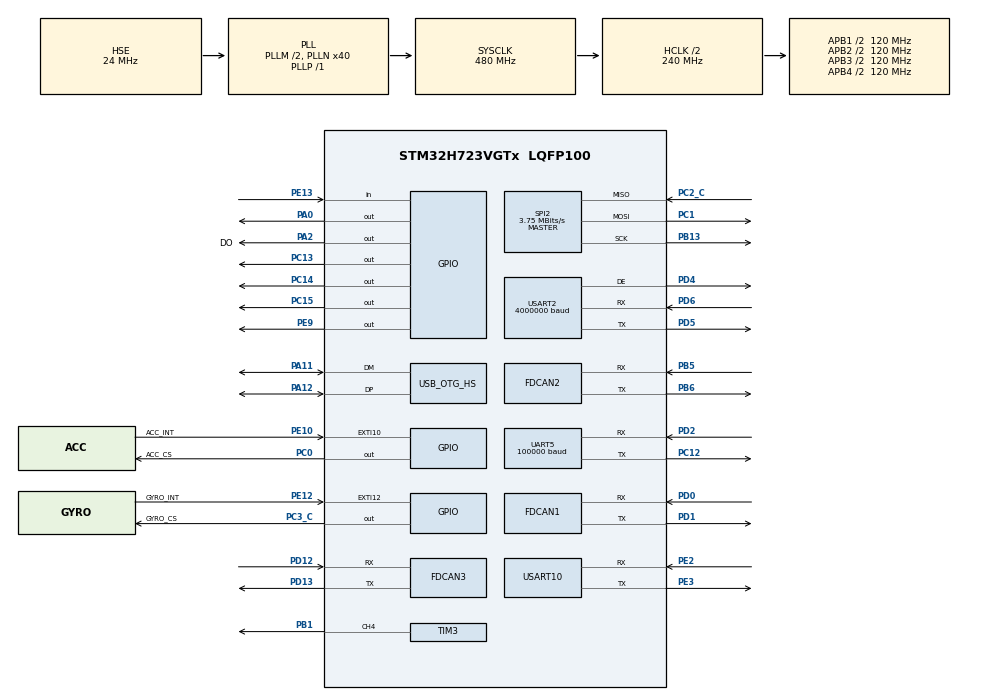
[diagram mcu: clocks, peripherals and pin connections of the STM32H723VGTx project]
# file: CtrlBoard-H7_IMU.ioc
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Dma.Request0=SPI2_RX
Dma.Request1=SPI2_TX
Dma.Request2=UART5_RX
Dma.Request3=USART2_RX
Dma.Request4=USART2_TX
Dma.Request5=USART10_RX
Dma.Request6=USART10_TX
Dma.SPI2_RX.0.Direction=DMA_PERIPH_TO_MEMORY
Dma.SPI2_RX.0.EventEnable=DISABLE
Dma.SPI2_RX.0.FIFOMode=DMA_FIFOMODE_DISABLE
Dma.SPI2_RX.0.Instance=DMA1_Stream0
Dma.SPI2_RX.0.MemDataAlignment=DMA_MDATAALIGN_BYTE
Dma.SPI2_RX.0.MemInc=DMA_MINC_ENABLE
Dma.SPI2_RX.0.Mode=DMA_NORMAL
Dma.SPI2_RX.0.PeriphDataAlignment=DMA_PDATAALIGN_BYTE
Dma.SPI2_RX.0.PeriphInc=DMA_PINC_DISABLE
Dma.SPI2_RX.0.Polarity=HAL_DMAMUX_REQ_GEN_RISING
Dma.SPI2_RX.0.Priority=DMA_PRIORITY_VERY_HIGH
Dma.SPI2_RX.0.RequestNumber=1
Dma.SPI2_RX.0.SignalID=NONE
Dma.SPI2_RX.0.SyncEnable=DISABLE
Dma.SPI2_RX.0.SyncPolarity=HAL_DMAMUX_SYNC_NO_EVENT
Dma.SPI2_RX.0.SyncRequestNumber=1
Dma.SPI2_RX.0.SyncSignalID=NONE
Dma.SPI2_TX.1.Direction=DMA_MEMORY_TO_PERIPH
Dma.SPI2_TX.1.EventEnable=DISABLE
Dma.SPI2_TX.1.FIFOMode=DMA_FIFOMODE_DISABLE
Dma.SPI2_TX.1.Instance=DMA1_Stream1
Dma.SPI2_TX.1.MemDataAlignment=DMA_MDATAALIGN_BYTE
Dma.SPI2_TX.1.MemInc=DMA_MINC_ENABLE
Dma.SPI2_TX.1.Mode=DMA_NORMAL
Dma.SPI2_TX.1.PeriphDataAlignment=DMA_PDATAALIGN_BYTE
Dma.SPI2_TX.1.PeriphInc=DMA_PINC_DISABLE
Dma.SPI2_TX.1.Polarity=HAL_DMAMUX_REQ_GEN_RISING
Dma.SPI2_TX.1.Priority=DMA_PRIORITY_HIGH
Dma.SPI2_TX.1.RequestNumber=1
Dma.SPI2_TX.1.SignalID=NONE
Dma.SPI2_TX.1.SyncEnable=DISABLE
Dma.SPI2_TX.1.SyncPolarity=HAL_DMAMUX_SYNC_NO_EVENT
Dma.SPI2_TX.1.SyncRequestNumber=1
Dma.SPI2_TX.1.SyncSignalID=NONE
Dma.UART5_RX.2.Direction=DMA_PERIPH_TO_MEMORY
Dma.UART5_RX.2.EventEnable=DISABLE
Dma.UART5_RX.2.FIFOMode=DMA_FIFOMODE_DISABLE
Dma.UART5_RX.2.Instance=DMA1_Stream2
Dma.UART5_RX.2.MemDataAlignment=DMA_MDATAALIGN_BYTE
Dma.UART5_RX.2.MemInc=DMA_MINC_ENABLE
Dma.UART5_RX.2.Mode=DMA_CIRCULAR
Dma.UART5_RX.2.PeriphDataAlignment=DMA_PDATAALIGN_BYTE
Dma.UART5_RX.2.PeriphInc=DMA_PINC_DISABLE
Dma.UART5_RX.2.Polarity=HAL_DMAMUX_REQ_GEN_RISING
Dma.UART5_RX.2.Priority=DMA_PRIORITY_VERY_HIGH
Dma.UART5_RX.2.RequestNumber=1
Dma.UART5_RX.2.SignalID=NONE
Dma.UART5_RX.2.SyncEnable=DISABLE
Dma.UART5_RX.2.SyncPolarity=HAL_DMAMUX_SYNC_NO_EVENT
Dma.UART5_RX.2.SyncRequestNumber=1
Dma.UART5_RX.2.SyncSignalID=NONE
Dma.USART10_RX.5.Direction=DMA_PERIPH_TO_MEMORY
Dma.USART10_RX.5.EventEnable=DISABLE
Dma.USART10_RX.5.FIFOMode=DMA_FIFOMODE_DISABLE
Dma.USART10_RX.5.Instance=DMA1_Stream5
Dma.USART10_RX.5.MemDataAlignment=DMA_MDATAALIGN_BYTE
Dma.USART10_RX.5.MemInc=DMA_MINC_ENABLE
Dma.USART10_RX.5.Mode=DMA_CIRCULAR
Dma.USART10_RX.5.PeriphDataAlignment=DMA_PDATAALIGN_BYTE
Dma.USART10_RX.5.PeriphInc=DMA_PINC_DISABLE
Dma.USART10_RX.5.Polarity=HAL_DMAMUX_REQ_GEN_RISING
Dma.USART10_RX.5.Priority=DMA_PRIORITY_HIGH
Dma.USART10_RX.5.RequestNumber=1
Dma.USART10_RX.5.SignalID=NONE
Dma.USART10_RX.5.SyncEnable=DISABLE
Dma.USART10_RX.5.SyncPolarity=HAL_DMAMUX_SYNC_NO_EVENT
Dma.USART10_RX.5.SyncRequestNumber=1
Dma.USART10_RX.5.SyncSignalID=NONE
Dma.USART10_TX.6.Direction=DMA_MEMORY_TO_PERIPH
Dma.USART10_TX.6.EventEnable=DISABLE
Dma.USART10_TX.6.FIFOMode=DMA_FIFOMODE_DISABLE
Dma.USART10_TX.6.Instance=DMA1_Stream6
Dma.USART10_TX.6.MemDataAlignment=DMA_MDATAALIGN_BYTE
Dma.USART10_TX.6.MemInc=DMA_MINC_ENABLE
Dma.USART10_TX.6.Mode=DMA_NORMAL
Dma.USART10_TX.6.PeriphDataAlignment=DMA_PDATAALIGN_BYTE
Dma.USART10_TX.6.PeriphInc=DMA_PINC_DISABLE
Dma.USART10_TX.6.Polarity=HAL_DMAMUX_REQ_GEN_RISING
Dma.USART10_TX.6.Priority=DMA_PRIORITY_HIGH
Dma.USART10_TX.6.RequestNumber=1
Dma.USART10_TX.6.SignalID=NONE
Dma.USART10_TX.6.SyncEnable=DISABLE
Dma.USART10_TX.6.SyncPolarity=HAL_DMAMUX_SYNC_NO_EVENT
Dma.USART10_TX.6.SyncRequestNumber=1
Dma.USART10_TX.6.SyncSignalID=NONE
Dma.USART2_RX.3.Direction=DMA_PERIPH_TO_MEMORY
Dma.USART2_RX.3.EventEnable=DISABLE
Dma.USART2_RX.3.FIFOMode=DMA_FIFOMODE_DISABLE
Dma.USART2_RX.3.Instance=DMA1_Stream3
Dma.USART2_RX.3.MemDataAlignment=DMA_MDATAALIGN_BYTE
Dma.USART2_RX.3.MemInc=DMA_MINC_ENABLE
Dma.USART2_RX.3.Mode=DMA_CIRCULAR
Dma.USART2_RX.3.PeriphDataAlignment=DMA_PDATAALIGN_BYTE
Dma.USART2_RX.3.PeriphInc=DMA_PINC_DISABLE
Dma.USART2_RX.3.Polarity=HAL_DMAMUX_REQ_GEN_RISING
Dma.USART2_RX.3.Priority=DMA_PRIORITY_HIGH
Dma.USART2_RX.3.RequestNumber=1
Dma.USART2_RX.3.SignalID=NONE
Dma.USART2_RX.3.SyncEnable=DISABLE
Dma.USART2_RX.3.SyncPolarity=HAL_DMAMUX_SYNC_NO_EVENT
Dma.USART2_RX.3.SyncRequestNumber=1
Dma.USART2_RX.3.SyncSignalID=NONE
Dma.USART2_TX.4.Direction=DMA_MEMORY_TO_PERIPH
Dma.USART2_TX.4.EventEnable=DISABLE
Dma.USART2_TX.4.FIFOMode=DMA_FIFOMODE_DISABLE
Dma.USART2_TX.4.Instance=DMA1_Stream4
Dma.USART2_TX.4.MemDataAlignment=DMA_MDATAALIGN_BYTE
Dma.USART2_TX.4.MemInc=DMA_MINC_ENABLE
Dma.USART2_TX.4.Mode=DMA_NORMAL
Dma.USART2_TX.4.PeriphDataAlignment=DMA_PDATAALIGN_BYTE
Dma.USART2_TX.4.PeriphInc=DMA_PINC_DISABLE
Dma.USART2_TX.4.Polarity=HAL_DMAMUX_REQ_GEN_RISING
Dma.USART2_TX.4.Priority=DMA_PRIORITY_HIGH
Dma.USART2_TX.4.RequestNumber=1
Dma.USART2_TX.4.SignalID=NONE
Dma.USART2_TX.4.SyncEnable=DISABLE
Dma.USART2_TX.4.SyncPolarity=HAL_DMAMUX_SYNC_NO_EVENT
Dma.USART2_TX.4.SyncRequestNumber=1
Dma.USART2_TX.4.SyncSignalID=NONE
FDCAN1.CalculateBaudRateNominal=1000000
FDCAN1.CalculateTimeBitNominal=1000
FDCAN1.CalculateTimeQuantumNominal=25.0
FDCAN1.DataPrescaler=3
FDCAN1.DataSyncJumpWidth=10
FDCAN1.DataTimeSeg1=29
FDCAN1.DataTimeSeg2=10
FDCAN1.ExtFiltersNbr=5
FDCAN1.MessageRAMOffset=5
FDCAN1.NominalPrescaler=3
FDCAN1.NominalSyncJumpWidth=10
FDCAN1.NominalTimeSeg1=29
FDCAN1.NominalTimeSeg2=10
FDCAN1.RxFifo0ElmtSize=FDCAN_DATA_BYTES_24
FDCAN1.RxFifo0ElmtsNbr=4
FDCAN1.RxFifo1ElmtSize=FDCAN_DATA_BYTES_24
FDCAN1.StdFiltersNbr=5
FDCAN1.TxElmtSize=FDCAN_DATA_BYTES_24
FDCAN1.TxFifoQueueElmtsNbr=8
FDCAN2.CalculateBaudRateNominal=1000000
FDCAN2.CalculateTimeBitNominal=1000
FDCAN2.CalculateTimeQuantumNominal=25.0
FDCAN2.DataPrescaler=3
FDCAN2.DataSyncJumpWidth=10
FDCAN2.DataTimeSeg1=29
FDCAN2.DataTimeSeg2=10
FDCAN2.ExtFiltersNbr=5
FDCAN2.MessageRAMOffset=854
FDCAN2.NominalPrescaler=3
FDCAN2.NominalSyncJumpWidth=10
FDCAN2.NominalTimeSeg1=29
FDCAN2.NominalTimeSeg2=10
FDCAN2.RxFifo1ElmtSize=FDCAN_DATA_BYTES_24
FDCAN2.RxFifo1ElmtsNbr=4
FDCAN2.StdFiltersNbr=5
FDCAN2.TxElmtSize=FDCAN_DATA_BYTES_24
FDCAN2.TxFifoQueueElmtsNbr=4
FDCAN3.CalculateBaudRateNominal=1000000
FDCAN3.CalculateTimeBitNominal=1000
FDCAN3.CalculateTimeQuantumNominal=25.0
FDCAN3.DataPrescaler=3
FDCAN3.DataSyncJumpWidth=10
FDCAN3.DataTimeSeg1=29
FDCAN3.DataTimeSeg2=5
FDCAN3.ExtFiltersNbr=5
FDCAN3.MessageRAMOffset=1709
FDCAN3.NominalPrescaler=3
FDCAN3.NominalSyncJumpWidth=10
FDCAN3.NominalTimeSeg1=29
FDCAN3.NominalTimeSeg2=10
FDCAN3.RxFifo0ElmtSize=FDCAN_DATA_BYTES_24
FDCAN3.RxFifo0ElmtsNbr=4
FDCAN3.StdFiltersNbr=5
FDCAN3.TxElmtSize=FDCAN_DATA_BYTES_24
FDCAN3.TxFifoQueueElmtsNbr=4
FREERTOS.INCLUDE_vTaskDelayUntil=1
FREERTOS.MEMORY_ALLOCATION=0
FREERTOS.Tasks01=defaultTask,0,128,StartDefaultTask,Default,NULL,Dynamic,NULL,NULL;INS_TASK,3,512,INS_Task,Default,NULL,Dynamic,NULL,NULL;CHASSIS_TASK,1,2048,CHASSIS_Task,Default,NULL,Dynamic,NULL,NULL;PS2_TASK,-3,512,PS2_Task,Default,NULL,Dynamic,NULL,NULL;REMOTO_TASK,2,256,Remote_Task,Default,NULL,Dynamic,NULL,NULL
FREERTOS.configENABLE_FPU=1
FREERTOS.configTOTAL_HEAP_SIZE=30720
Mcu.Family=STM32H7
Mcu.Name=STM32H723VGTx
Mcu.Package=LQFP100
NVIC.DMA1_Stream0_IRQn=true\:6\:0\:true\:false\:true\:true\:false\:true\:true
NVIC.DMA1_Stream1_IRQn=true\:6\:0\:true\:false\:true\:true\:false\:true\:true
NVIC.DMA1_Stream2_IRQn=true\:5\:0\:false\:false\:true\:true\:false\:true\:true
NVIC.DMA1_Stream3_IRQn=true\:5\:0\:false\:false\:true\:true\:false\:true\:true
NVIC.DMA1_Stream4_IRQn=true\:5\:0\:false\:false\:true\:true\:false\:true\:true
NVIC.DMA1_Stream5_IRQn=true\:5\:0\:false\:false\:true\:true\:false\:true\:true
NVIC.DMA1_Stream6_IRQn=true\:5\:0\:false\:false\:true\:true\:false\:true\:true
NVIC.FDCAN1_IT0_IRQn=true\:6\:0\:true\:false\:true\:true\:true\:true\:true
NVIC.FDCAN2_IT0_IRQn=true\:5\:0\:true\:false\:true\:true\:true\:true\:true
NVIC.FDCAN3_IT0_IRQn=true\:5\:0\:false\:false\:true\:true\:true\:true\:true
NVIC.OTG_HS_IRQn=true\:5\:0\:false\:false\:true\:true\:false\:true\:true
NVIC.PriorityGroup=NVIC_PRIORITYGROUP_4
NVIC.SPI2_IRQn=true\:5\:0\:true\:false\:true\:true\:false\:true\:true
NVIC.TIM2_IRQn=true\:15\:0\:false\:false\:true\:false\:false\:true\:true
NVIC.TimeBase=TIM2_IRQn
NVIC.TimeBaseIP=TIM2
NVIC.UART5_IRQn=true\:5\:0\:false\:false\:true\:true\:true\:true\:true
NVIC.USART10_IRQn=true\:5\:0\:false\:false\:true\:true\:true\:true\:true
NVIC.USART2_IRQn=true\:5\:0\:false\:false\:true\:true\:true\:true\:true
PA0.GPIO_ModeDefaultOutputPP=GPIO_MODE_OUTPUT_PP
PA0.GPIO_PuPd=GPIO_PULLUP
PA0.GPIO_Speed=GPIO_SPEED_FREQ_VERY_HIGH
PA0.Signal=GPIO_Output
PA11.Mode=Device_Only_FS
PA11.Signal=USB_OTG_HS_DM
PA12.Mode=Device_Only_FS
PA12.Signal=USB_OTG_HS_DP
PA13(JTMS/SWDIO).Mode=Serial_Wire
PA13(JTMS/SWDIO).Signal=DEBUG_JTMS-SWDIO
PA14(JTCK/SWCLK).Mode=Serial_Wire
PA14(JTCK/SWCLK).Signal=DEBUG_JTCK-SWCLK
PA2.GPIO_Label=DO
PA2.GPIO_PuPd=GPIO_PULLUP
PA2.GPIO_Speed=GPIO_SPEED_FREQ_VERY_HIGH
PA2.PinState=GPIO_PIN_SET
PA2.Signal=GPIO_Output
PB1.Signal=S_TIM3_CH4
PB13.GPIO_Speed=GPIO_SPEED_FREQ_VERY_HIGH
PB13.Mode=Full_Duplex_Master
PB13.Signal=SPI2_SCK
PB5.Mode=FDCAN_Activate
PB5.Signal=FDCAN2_RX
PB6.Mode=FDCAN_Activate
PB6.Signal=FDCAN2_TX
PC0.GPIO_Label=ACC_CS
PC0.GPIO_Speed=GPIO_SPEED_FREQ_VERY_HIGH
PC0.PinState=GPIO_PIN_SET
PC0.Signal=GPIO_Output
PC1.GPIO_Speed=GPIO_SPEED_FREQ_VERY_HIGH
PC1.Mode=Full_Duplex_Master
PC1.Signal=SPI2_MOSI
PC12.Mode=Asynchronous
PC12.Signal=UART5_TX
PC13.Signal=GPIO_Output
PC14-OSC32_IN.Signal=GPIO_Output
PC15-OSC32_OUT.PinState=GPIO_PIN_SET
PC15-OSC32_OUT.Signal=GPIO_Output
PC2_C.GPIO_Speed=GPIO_SPEED_FREQ_VERY_HIGH
PC2_C.Mode=Full_Duplex_Master
PC2_C.Signal=SPI2_MISO
PC3_C.GPIO_Label=GYRO_CS
PC3_C.GPIO_Speed=GPIO_SPEED_FREQ_VERY_HIGH
PC3_C.PinState=GPIO_PIN_SET
PC3_C.Signal=GPIO_Output
PD0.Mode=FDCAN_Activate
PD0.Signal=FDCAN1_RX
PD1.Mode=FDCAN_Activate
PD1.Signal=FDCAN1_TX
PD12.Mode=FDCAN_Activate
PD12.Signal=FDCAN3_RX
PD13.Mode=FDCAN_Activate
PD13.Signal=FDCAN3_TX
PD2.Mode=Asynchronous
PD2.Signal=UART5_RX
PD4.Mode=Hardware Flow Control (RS485)
PD4.Signal=USART2_DE
PD5.Mode=Asynchronous
PD5.Signal=USART2_TX
PD6.Mode=Asynchronous
PD6.Signal=USART2_RX
PE10.GPIO_Label=ACC_INT
PE10.Signal=GPXTI10
PE12.GPIO_Label=GYRO_INT
PE12.Signal=GPXTI12
PE13.GPIO_PuPd=GPIO_PULLUP
PE13.Signal=GPIO_Input
PE2.Mode=Asynchronous
PE2.Signal=USART10_RX
PE3.Mode=Asynchronous
PE3.Signal=USART10_TX
PE9.GPIO_ModeDefaultOutputPP=GPIO_MODE_OUTPUT_PP
PE9.GPIO_PuPd=GPIO_PULLUP
PE9.GPIO_Speed=GPIO_SPEED_FREQ_VERY_HIGH
PE9.Signal=GPIO_Output
PH0-OSC_IN.Mode=HSE-External-Oscillator
PH0-OSC_IN.Signal=RCC_OSC_IN
PH1-OSC_OUT.Mode=HSE-External-Oscillator
PH1-OSC_OUT.Signal=RCC_OSC_OUT
ProjectManager.HeapSize=0x200
ProjectManager.StackSize=0x800
ProjectManager.TargetToolchain=MDK-ARM V5.27
RCC.ADCFreq_Value=100000000
RCC.APB1Freq_Value=120000000
RCC.APB2Freq_Value=120000000
RCC.APB3Freq_Value=120000000
RCC.APB4Freq_Value=120000000
RCC.CortexFreq_Value=480000000
RCC.D1PPRE=RCC_APB3_DIV2
RCC.D2PPRE1=RCC_APB1_DIV2
RCC.D2PPRE2=RCC_APB2_DIV2
RCC.D3PPRE=RCC_APB4_DIV2
RCC.DIVM1=2
RCC.DIVM2=24
RCC.DIVN1=40
RCC.DIVN2=200
RCC.DIVP1=1
RCC.DIVQ1=4
RCC.DIVR1=4
RCC.HCLKFreq_Value=240000000
RCC.HPRE=RCC_HCLK_DIV2
RCC.HSE_VALUE=24000000
RCC.PLL2FRACN=0
RCC.PLL3FRACN=0
RCC.PLLFRACN=0
RCC.PLLSourceVirtual=RCC_PLLSOURCE_HSE
RCC.SYSCLKFreq_VALUE=480000000
RCC.SYSCLKSource=RCC_SYSCLKSOURCE_PLLCLK
RCC.USBCLockSelection=RCC_USBCLKSOURCE_HSI48
RCC.USBFreq_Value=48000000
SH.S_TIM3_CH4.0=TIM3_CH4,PWM Generation4 CH4
SPI2.BaudRatePrescaler=SPI_BAUDRATEPRESCALER_32
SPI2.CLKPhase=SPI_PHASE_2EDGE
SPI2.CLKPolarity=SPI_POLARITY_HIGH
SPI2.CalculateBaudRate=3.75 MBits/s
SPI2.DataSize=SPI_DATASIZE_8BIT
SPI2.Direction=SPI_DIRECTION_2LINES
SPI2.Mode=SPI_MODE_MASTER
SPI2.VirtualType=VM_MASTER
TIM3.AutoReloadPreload=TIM_AUTORELOAD_PRELOAD_ENABLE
TIM3.Channel-PWM\ Generation4\ CH4=TIM_CHANNEL_4
TIM3.Period=10000-1
TIM3.Prescaler=24-1
UART5.BaudRate=100000
UART5.Mode=MODE_RX
UART5.Parity=PARITY_EVEN
UART5.StopBits=UART_STOPBITS_2
UART5.WordLength=WORDLENGTH_9B
USART10.VirtualMode=VM_ASYNC
USART2.BaudRate=4000000
USART2.OverSampling=UART_OVERSAMPLING_16
USART2.UART_DEAssertionTime=0
USART2.UART_DEDeassertionTime=0
USART2.VirtualMode-Asynchronous=VM_ASYNC
USART2.VirtualMode-Hardware\ Flow\ Control\ (RS485)=VM_ASYNC
USB_DEVICE.CLASS_NAME_HS=CDC
USB_DEVICE.VirtualMode=Cdc
USB_DEVICE.VirtualModeHS=Cdc_HS
USB_OTG_HS.VirtualMode-Device_Only_FS=Device_Only_FS
VP_FREERTOS_VS_CMSIS_V1.Mode=CMSIS_V1
VP_SYS_VS_tim2.Mode=TIM2
VP_USB_DEVICE_VS_USB_DEVICE_CDC_HS.Mode=CDC_HS
board=custom

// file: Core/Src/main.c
/* USER CODE BEGIN Header */
/**
  ******************************************************************************
  * @file           : main.c
  * @brief          : Main program body
  ******************************************************************************
  * @attention
  *
  * Copyright (c) 2024 STMicroelectronics.
  * All rights reserved.
  *
  * This software is licensed under terms that can be found in the LICENSE file
  * in the root directory of this software component.
  * If no LICENSE file comes with this software, it is provided AS-IS.
  *
  ******************************************************************************
  */
/* USER CODE END Header */
#include "main.h"
#include "cmsis_os.h"
#include "dma.h"
#include "fdcan.h"
#include "spi.h"
#include "tim.h"
#include "usart.h"
#include "usb_device.h"
#include "gpio.h"

/* USER CODE BEGIN Includes */
#include "BMI088driver.h"
#include "kalman_filter.h"
#include "mahony_filter.h"
#include "bsp_dwt.h"
#include "BMI088Middleware.h"
#include "bsp_can.h"
#include "bsp_uart.h"
#include "user_sys_config.h"
/* USER CODE END Includes */

void SystemClock_Config(void);
void MX_FREERTOS_Init(void);

int main(void)
{

  /* MCU Configuration--------------------------------------------------------*/

  /* Reset of all peripherals, Initializes the Flash interface and the Systick. */
  HAL_Init();

  /* USER CODE BEGIN Init */
//06 01 00 00 00 00 00 00 00 00 00 00 00 00 80 3F
  /* USER CODE END Init */

  /* Configure the system clock */
  SystemClock_Config();

  /* Initialize all configured peripherals */
  MX_GPIO_Init();
  MX_DMA_Init();
  MX_SPI2_Init();
  MX_FDCAN1_Init();
  MX_FDCAN2_Init();
  MX_TIM3_Init();
  MX_FDCAN3_Init();
  MX_UART5_Init();
  MX_USART2_UART_Init();
  MX_USART10_UART_Init();
  /* USER CODE BEGIN 2 */
  MX_USB_DEVICE_Init();
  DWT_Init(480);
  /*���ڳ�ʼ�� */
  BSP_USART_Init();
//  PS2_Init();
  /* ϵͳ�ӳ����� */
  HAL_Delay(SYS_DELAY_START_TIME);
  /* BMI088��ʼ�� */
  while (BMI088_init(&hspi2, 0) != BMI088_NO_ERROR)
  {
	  ;
  }
  Power_OUT1_ON;//imu��ʼ����ɣ��ɿص�Դ�򿪣�led����
  Power_OUT2_ON;

  FDCAN1_Config();//can��������ʼ��
  FDCAN2_Config();
  FDCAN3_Config();

  /* USER CODE END 2 */

  /* Call init function for freertos objects (in freertos.c) */
  MX_FREERTOS_Init();

  /* Start scheduler */
  osKernelStart();

  /* We should never get here as control is now taken by the scheduler */
  /* Infinite loop */
  while (1)
  {

  }
}

void SystemClock_Config(void)
{
  RCC_OscInitTypeDef RCC_OscInitStruct = {0};
  RCC_ClkInitTypeDef RCC_ClkInitStruct = {0};

  /** Supply configuration update enable
  */
  HAL_PWREx_ConfigSupply(PWR_LDO_SUPPLY);

  /** Configure the main internal regulator output voltage
  */
  __HAL_PWR_VOLTAGESCALING_CONFIG(PWR_REGULATOR_VOLTAGE_SCALE0);

  while(!__HAL_PWR_GET_FLAG(PWR_FLAG_VOSRDY)) {}

  /** Initializes the RCC Oscillators according to the specified parameters
  * in the RCC_OscInitTypeDef structure.
  */
  RCC_OscInitStruct.OscillatorType = RCC_OSCILLATORTYPE_HSI48|RCC_OSCILLATORTYPE_HSE;
  RCC_OscInitStruct.HSEState = RCC_HSE_ON;
  RCC_OscInitStruct.HSI48State = RCC_HSI48_ON;
  RCC_OscInitStruct.PLL.PLLState = RCC_PLL_ON;
  RCC_OscInitStruct.PLL.PLLSource = RCC_PLLSOURCE_HSE;
  RCC_OscInitStruct.PLL.PLLM = 2;
  RCC_OscInitStruct.PLL.PLLN = 40;
  RCC_OscInitStruct.PLL.PLLP = 1;
  RCC_OscInitStruct.PLL.PLLQ = 4;
  RCC_OscInitStruct.PLL.PLLR = 4;
  RCC_OscInitStruct.PLL.PLLRGE = RCC_PLL1VCIRANGE_3;
  RCC_OscInitStruct.PLL.PLLVCOSEL = RCC_PLL1VCOWIDE;
  RCC_OscInitStruct.PLL.PLLFRACN = 0;
  if (HAL_RCC_OscConfig(&RCC_OscInitStruct) != HAL_OK)
  {
    Error_Handler();
  }

  /** Initializes the CPU, AHB and APB buses clocks
  */
  RCC_ClkInitStruct.ClockType = RCC_CLOCKTYPE_HCLK|RCC_CLOCKTYPE_SYSCLK
                              |RCC_CLOCKTYPE_PCLK1|RCC_CLOCKTYPE_PCLK2
                              |RCC_CLOCKTYPE_D3PCLK1|RCC_CLOCKTYPE_D1PCLK1;
  RCC_ClkInitStruct.SYSCLKSource = RCC_SYSCLKSOURCE_PLLCLK;
  RCC_ClkInitStruct.SYSCLKDivider = RCC_SYSCLK_DIV1;
  RCC_ClkInitStruct.AHBCLKDivider = RCC_HCLK_DIV2;
  RCC_ClkInitStruct.APB3CLKDivider = RCC_APB3_DIV2;
  RCC_ClkInitStruct.APB1CLKDivider = RCC_APB1_DIV2;
  RCC_ClkInitStruct.APB2CLKDivider = RCC_APB2_DIV2;
  RCC_ClkInitStruct.APB4CLKDivider = RCC_APB4_DIV2;

  if (HAL_RCC_ClockConfig(&RCC_ClkInitStruct, FLASH_LATENCY_3) != HAL_OK)
  {
    Error_Handler();
  }
}

void HAL_TIM_PeriodElapsedCallback(TIM_HandleTypeDef *htim)
{
  if (htim->Instance == TIM2) {
    HAL_IncTick();
  }
}

void Error_Handler(void)
{
  __disable_irq();
  while (1)
  {
  }
}

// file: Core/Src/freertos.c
/* USER CODE BEGIN Header */
/**
  ******************************************************************************
  * File Name          : freertos.c
  * Description        : Code for freertos applications
  ******************************************************************************
  * @attention
  *
  * Copyright (c) 2024 STMicroelectronics.
  * All rights reserved.
  *
  * This software is licensed under terms that can be found in the LICENSE file
  * in the root directory of this software component.
  * If no LICENSE file comes with this software, it is provided AS-IS.
  *
  ******************************************************************************
  */
/* USER CODE END Header */

#include "FreeRTOS.h"
#include "task.h"
#include "main.h"
#include "cmsis_os.h"

/* USER CODE BEGIN Includes */
#include "INS_task.h"
#include "chassis_task.h"
#include "ps2_task.h"
#include "Remote_task.h"
/* USER CODE END Includes */

osThreadId defaultTaskHandle;
osThreadId INS_TASKHandle;
osThreadId CHASSIS_TASKHandle;
osThreadId PS2_TASKHandle;
osThreadId REMOTO_TASKHandle;

void StartDefaultTask(void const * argument);
void INS_Task(void const * argument);
void CHASSIS_Task(void const * argument);
void PS2_Task(void const * argument);
void Remote_Task(void const * argument);

extern void MX_USB_DEVICE_Init(void);
void MX_FREERTOS_Init(void); /* (MISRA C 2004 rule 8.1) */

void MX_FREERTOS_Init(void) {

  /* Create the thread(s) */
  /* definition and creation of defaultTask */
  osThreadDef(defaultTask, StartDefaultTask, osPriorityNormal, 0, 128);
  defaultTaskHandle = osThreadCreate(osThread(defaultTask), NULL);

  /* definition and creation of INS_TASK */
  osThreadDef(INS_TASK, INS_Task, osPriorityRealtime, 0, 512);
  INS_TASKHandle = osThreadCreate(osThread(INS_TASK), NULL);

  /* definition and creation of CHASSIS_TASK */
  osThreadDef(CHASSIS_TASK, CHASSIS_Task, osPriorityAboveNormal, 0, 2048);
  CHASSIS_TASKHandle = osThreadCreate(osThread(CHASSIS_TASK), NULL);

  /* definition and creation of PS2_TASK */
  osThreadDef(PS2_TASK, PS2_Task, osPriorityIdle, 0, 512);
  PS2_TASKHandle = osThreadCreate(osThread(PS2_TASK), NULL);

  /* definition and creation of REMOTO_TASK */
  osThreadDef(REMOTO_TASK, Remote_Task, osPriorityHigh, 0, 256);
  REMOTO_TASKHandle = osThreadCreate(osThread(REMOTO_TASK), NULL);

}

void StartDefaultTask(void const * argument)
{
  /* init code for USB_DEVICE */
  MX_USB_DEVICE_Init();
  for(;;)
  {
    osDelay(1);
  }
}

void INS_Task(void const * argument)
{
  /* USER CODE BEGIN INS_Task */

  /* Infinite loop */
  for(;;)
  {
    INS_task();
  }
  /* USER CODE END INS_Task */
}

void CHASSIS_Task(void const * argument)
{
  /* USER CODE BEGIN CHASSIS_Task */
  /* Infinite loop */
  for(;;)
  {
    chassis_task();
  }
  /* USER CODE END CHASSIS_Task */
}

void PS2_Task(void const * argument)
{
  /* USER CODE BEGIN PS2_Task */
  /* Infinite loop */
  for(;;)
  {
//		PS2_task();
	  osDelay(1);

  }
  /* USER CODE END PS2_Task */
}

void Remote_Task(void const * argument)
{
  /* USER CODE BEGIN Remote_Task */
  /* Infinite loop */
  for(;;)
  {
    remote_task();
  }
  /* USER CODE END Remote_Task */
}
